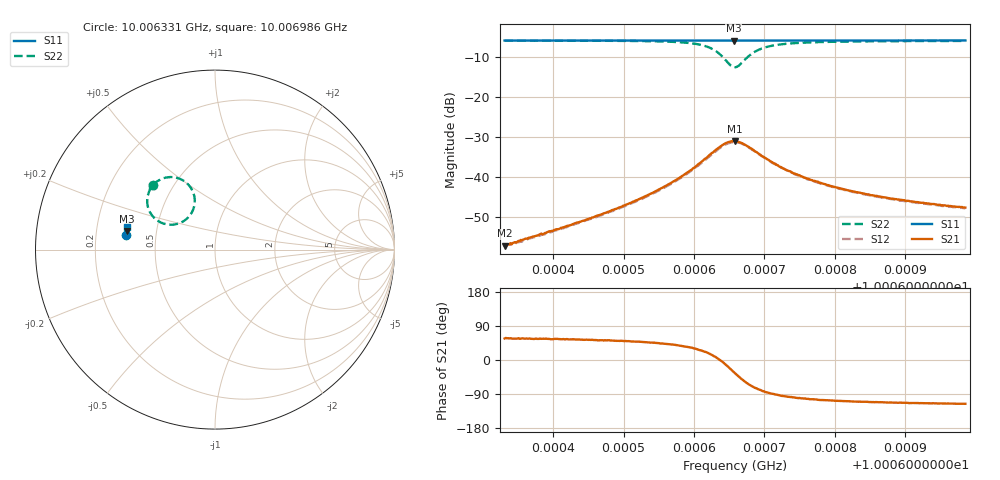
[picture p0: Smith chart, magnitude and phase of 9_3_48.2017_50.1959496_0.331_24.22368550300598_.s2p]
#  HZ  S  RI  R  50.00
! Rohde & Schwarz Vector Network Analyzer
! Rohde-Schwarz,ZNB20-2Port,1311601062101988,3.16
! Created: UTC 3/20/2024, 11:36:22 AM
! freq[Hz]  re:S11  im:S11  re:S21  im:S21  re:S12  im:S12  re:S22  im:S22
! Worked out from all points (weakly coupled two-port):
!   401 points, 10.006331 GHz to 10.006986 GHz, reference 50 ohm
!   highest |S21| = -31.06 dB at 10.006658 GHz (marker M1); lowest = -57.2 dB at 10.006331 GHz (marker M2)
!   lowest |S11| = -6.0 dB at 10.006657 GHz (marker M3), VSWR 3.00, Z = 16.8 + j4.64 ohm
!   |S11| at or under -10 dB: nowhere
!   |S22| runs from -12.7 to -6.0 dB; largest |S21 - S12| = 0.0022
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1.00063308e10  -0.4954 0.0835  0.000759 0.00116  0.00068 0.00119  -0.3448 0.3624
1.00063586e10  -0.4951 0.0854  0.000927 0.00139  0.00082 0.0014  -0.3415 0.3654
1.00064405e10  -0.4942 0.091  0.00166 0.00226  0.00151 0.00229  -0.3292 0.3758
1.00064995e10  -0.4935 0.0949  0.0028 0.00337  0.00256 0.00341  -0.3134 0.386
1.00065503e10  -0.4929 0.0984  0.00497 0.00488  0.0046 0.00496  -0.2873 0.3977
1.00065847e10  -0.4922 0.1008  0.00839 0.00622  0.00785 0.00643  -0.2508 0.4042
1.00066174e10  -0.491 0.103  0.0161 0.00608  0.0153 0.00653  -0.1785 0.3858
1.00066305e10  -0.4903 0.1036  0.0213 0.00313  0.0203 0.00404  -0.1374 0.3485
1.0006642e10  -0.4895 0.1039  0.0252 -0.00312  0.0245 -0.00161  -0.1133 0.2844
1.00066518e10  -0.4892 0.1036  0.0253 -0.0109  0.0253 -0.0089  -0.1263 0.2125
1.00066567e10  -0.4892 0.1035  0.0236 -0.0148  0.0241 -0.0128  -0.1488 0.1802
1.00066584e10  -0.4893 0.1035  0.0229 -0.016  0.0233 -0.0139  -0.1583 0.1711
1.00066633e10  -0.4894 0.1034  0.0199 -0.0187  0.0208 -0.0168  -0.1909 0.1502
1.00066731e10  -0.4899 0.1037  0.0132 -0.0212  0.0144 -0.02  -0.2586 0.1392
1.00066846e10  -0.4904 0.1044  0.00675 -0.0206  0.0081 -0.0198  -0.3174 0.1598
1.00066993e10  -0.4909 0.1054  0.00234 -0.0175  0.00317 -0.0172  -0.3563 0.1985
1.00067304e10  -0.4911 0.108  -0.00125 -0.0122  -0.000693 -0.0123  -0.3774 0.2578
1.00067468e10  -0.4909 0.109  -0.0019 -0.0106  -0.00126 -0.0104  -0.3778 0.277
1.00067681e10  -0.4907 0.1106  -0.00213 -0.00885  -0.00172 -0.00886  -0.3759 0.2947
1.00068221e10  -0.49 0.1142  -0.0022 -0.00634  -0.00185 -0.00634  -0.3684 0.3208
1.00068778e10  -0.4894 0.1179  -0.00203 -0.00501  -0.00176 -0.00506  -0.3614 0.3356
1.00069859e10  -0.4879 0.1249  -0.00179 -0.00373  -0.00154 -0.00374  -0.3506 0.3521
